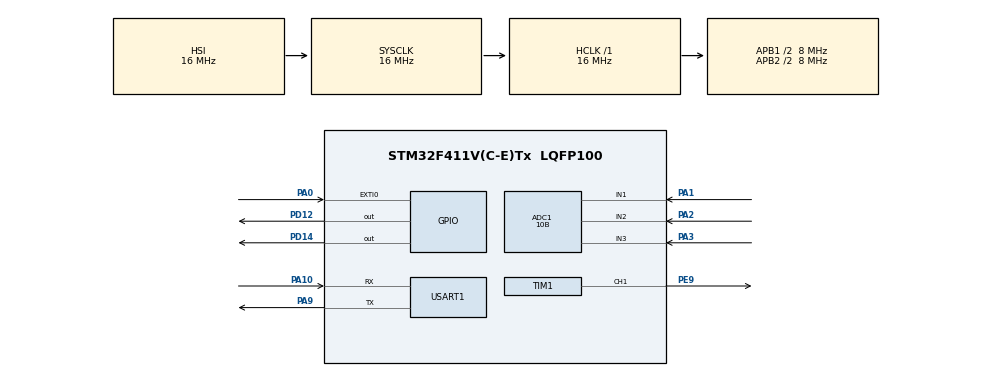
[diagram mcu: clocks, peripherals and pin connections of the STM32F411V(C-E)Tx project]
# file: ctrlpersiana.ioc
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ADC1.Channel-0\#ChannelRegularConversion=ADC_CHANNEL_1
ADC1.Channel-1\#ChannelRegularConversion=ADC_CHANNEL_2
ADC1.Channel-2\#ChannelRegularConversion=ADC_CHANNEL_3
ADC1.ContinuousConvMode=ENABLE
ADC1.DMAContinuousRequests=ENABLE
ADC1.DiscontinuousConvMode=DISABLE
ADC1.NbrOfConversion=3
ADC1.NbrOfConversionFlag=1
ADC1.Rank-0\#ChannelRegularConversion=1
ADC1.Rank-1\#ChannelRegularConversion=2
ADC1.Rank-2\#ChannelRegularConversion=3
ADC1.Resolution=ADC_RESOLUTION_10B
ADC1.SamplingTime-0\#ChannelRegularConversion=ADC_SAMPLETIME_3CYCLES
ADC1.SamplingTime-1\#ChannelRegularConversion=ADC_SAMPLETIME_3CYCLES
ADC1.SamplingTime-2\#ChannelRegularConversion=ADC_SAMPLETIME_3CYCLES
ADC1.ScanConvMode=ENABLE
ADC1.master=1
Dma.ADC1.0.Direction=DMA_PERIPH_TO_MEMORY
Dma.ADC1.0.FIFOMode=DMA_FIFOMODE_DISABLE
Dma.ADC1.0.Instance=DMA2_Stream0
Dma.ADC1.0.MemDataAlignment=DMA_MDATAALIGN_WORD
Dma.ADC1.0.MemInc=DMA_MINC_ENABLE
Dma.ADC1.0.Mode=DMA_CIRCULAR
Dma.ADC1.0.PeriphDataAlignment=DMA_PDATAALIGN_WORD
Dma.ADC1.0.PeriphInc=DMA_PINC_DISABLE
Dma.ADC1.0.Priority=DMA_PRIORITY_LOW
Dma.Request0=ADC1
Mcu.Family=STM32F4
Mcu.Name=STM32F411V(C-E)Tx
Mcu.Package=LQFP100
NVIC.DMA2_Stream0_IRQn=true\:0\:0\:false\:false\:true\:false\:true\:true
NVIC.EXTI0_IRQn=true\:0\:0\:false\:false\:true\:true\:true\:true
NVIC.PriorityGroup=NVIC_PRIORITYGROUP_0
PA0-WKUP.Signal=GPXTI0
PA1.Signal=ADCx_IN1
PA10.Mode=Asynchronous
PA10.Signal=USART1_RX
PA2.Signal=ADCx_IN2
PA3.Signal=ADCx_IN3
PA9.Mode=Asynchronous
PA9.Signal=USART1_TX
PD12.Signal=GPIO_Output
PD14.Signal=GPIO_Output
PE9.Signal=S_TIM1_CH1
ProjectManager.HeapSize=0x200
ProjectManager.StackSize=0x400
ProjectManager.TargetToolchain=STM32CubeIDE
RCC.48MHZClocksFreq_Value=16000000
RCC.AHBFreq_Value=16000000
RCC.APB1CLKDivider=RCC_HCLK_DIV2
RCC.APB1Freq_Value=8000000
RCC.APB1TimFreq_Value=16000000
RCC.APB2CLKDivider=RCC_HCLK_DIV2
RCC.APB2Freq_Value=8000000
RCC.APB2TimFreq_Value=16000000
RCC.CortexFreq_Value=16000000
RCC.HCLKFreq_Value=16000000
RCC.HSE_VALUE=8000000
RCC.HSI_VALUE=16000000
RCC.LSE_VALUE=32768
RCC.PLLI2SM=5
RCC.PLLI2SN=200
RCC.PLLM=8
RCC.PLLN=64
RCC.PLLQ=8
RCC.SYSCLKFreq_VALUE=16000000
RCC.VCOOutputFreq_Value=128000000
SH.ADCx_IN1.0=ADC1_IN1,IN1
SH.ADCx_IN2.0=ADC1_IN2,IN2
SH.ADCx_IN3.0=ADC1_IN3,IN3
SH.S_TIM1_CH1.0=TIM1_CH1,PWM Generation1 CH1
TIM1.Channel-PWM\ Generation1\ CH1=TIM_CHANNEL_1
TIM1.Period=200
TIM1.Prescaler=1600
USART1.VirtualMode=VM_ASYNC
board=STM32F411E-DISCO

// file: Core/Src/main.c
/* USER CODE BEGIN Header */
/**
  ******************************************************************************
  * @file           : main.c
  * @brief          : Main program body
  ******************************************************************************
  * @attention
  *
  * Copyright (c) 2022 STMicroelectronics.
  * All rights reserved.
  *
  * This software is licensed under terms that can be found in the LICENSE file
  * in the root directory of this software component.
  * If no LICENSE file comes with this software, it is provided AS-IS.
  *
  ******************************************************************************
  */
/* USER CODE END Header */
#include "main.h"

ADC_HandleTypeDef hadc1;
DMA_HandleTypeDef hdma_adc1;

TIM_HandleTypeDef htim1;

UART_HandleTypeDef huart1;

void SystemClock_Config(void);
static void MX_GPIO_Init(void);
static void MX_DMA_Init(void);
static void MX_ADC1_Init(void);
static void MX_TIM1_Init(void);
static void MX_USART1_UART_Init(void);
/* USER CODE BEGIN PFP */
volatile int flag = 0;
char recibido[1]="";
uint32_t adcbuffer[3];
/* USER CODE END PFP */

/* USER CODE BEGIN 0 */
void HAL_GPIO_EXTI_Callback(uint16_t GPIO_Pin)
{
  /* Prevent unused argument(s) compilation warning */
	if(GPIO_Pin==GPIO_PIN_0)
		flag = 1;
}
/* USER CODE END 0 */

int main(void)
{

  /* MCU Configuration--------------------------------------------------------*/

  /* Reset of all peripherals, Initializes the Flash interface and the Systick. */
  HAL_Init();

  /* Configure the system clock */
  SystemClock_Config();

  /* Initialize all configured peripherals */
  MX_GPIO_Init();
  MX_DMA_Init();
  MX_ADC1_Init();
  MX_TIM1_Init();
  MX_USART1_UART_Init();
  /* USER CODE BEGIN 2 */
  int counter=HAL_GetTick();

  HAL_TIM_PWM_Start(&htim1, TIM_CHANNEL_1);

  /* USER CODE END 2 */

  /* Infinite loop */
  while (1)
  {

    /* USER CODE BEGIN 3 */
	  HAL_UART_Receive(&huart1, (uint8_t *)recibido, 1, HAL_MAX_DELAY);
	  HAL_ADC_Start_DMA(&hadc1, adcbuffer, 3);

	  if( recibido[0]=='1')
	  	    	  	  {

	  	    	  		 //for(int i=1;i<10;i++)
	  	    	  		 //{
	  	    	  		  		 __HAL_TIM_SET_COMPARE(&htim1,TIM_CHANNEL_1,20);//de 0 a 20

	  	    	  		 //}
	  	    	  		  		recibido[0] = '0';
	  	    	  		 }

	  	    	  	  //MODO ADC
	  if(/*modosensor == 1*/recibido[0]=='2')
	  	    	  	  {
	  	    	  	  if((adcbuffer[0]>700) && (flag == 1)){
	  	    	  		  //va de 527 a 1023 mas o menos el sensor
	  	    	  		for(int i=0;i<20;i++)
	  	    	  			  	    	  		 {
	  	    	  			  	    	  		  		 __HAL_TIM_SET_COMPARE(&htim1,TIM_CHANNEL_1,i);
	  	    	  			  	    	  		  		  HAL_Delay(70);
	  	    	  			  	    	  		 }
	  	    	  	recibido[0]='0';
	  	    	  		  flag = 0;
	  	    	  	  }
	  	    	  	  else if((adcbuffer[0]<700) && ((HAL_GetTick()- counter)>= 5000) && (flag == 1)){
	  	    	  			counter=HAL_GetTick();
	  	    	  		for(int i=0;i<20;i++)
	  	    	  			  	{
	  	    	  			  	    	 __HAL_TIM_SET_COMPARE(&htim1,TIM_CHANNEL_1,i);
	  	    	  			  	    	 HAL_Delay(70);
	  	    	  			  	 }
	  	    	  		  	  flag = 0;
	  	    	  		  recibido[0]='0';
	  	    	  			  //}
	  	    	  	  }
	  	    	  	  }

  }
  /* USER CODE END 3 */
}

void SystemClock_Config(void)
{
  RCC_OscInitTypeDef RCC_OscInitStruct = {0};
  RCC_ClkInitTypeDef RCC_ClkInitStruct = {0};

  /** Configure the main internal regulator output voltage
  */
  __HAL_RCC_PWR_CLK_ENABLE();
  __HAL_PWR_VOLTAGESCALING_CONFIG(PWR_REGULATOR_VOLTAGE_SCALE1);

  /** Initializes the RCC Oscillators according to the specified parameters
  * in the RCC_OscInitTypeDef structure.
  */
  RCC_OscInitStruct.OscillatorType = RCC_OSCILLATORTYPE_HSI;
  RCC_OscInitStruct.HSIState = RCC_HSI_ON;
  RCC_OscInitStruct.HSICalibrationValue = RCC_HSICALIBRATION_DEFAULT;
  RCC_OscInitStruct.PLL.PLLState = RCC_PLL_NONE;
  if (HAL_RCC_OscConfig(&RCC_OscInitStruct) != HAL_OK)
  {
    Error_Handler();
  }

  /** Initializes the CPU, AHB and APB buses clocks
  */
  RCC_ClkInitStruct.ClockType = RCC_CLOCKTYPE_HCLK|RCC_CLOCKTYPE_SYSCLK
                              |RCC_CLOCKTYPE_PCLK1|RCC_CLOCKTYPE_PCLK2;
  RCC_ClkInitStruct.SYSCLKSource = RCC_SYSCLKSOURCE_HSI;
  RCC_ClkInitStruct.AHBCLKDivider = RCC_SYSCLK_DIV1;
  RCC_ClkInitStruct.APB1CLKDivider = RCC_HCLK_DIV2;
  RCC_ClkInitStruct.APB2CLKDivider = RCC_HCLK_DIV2;

  if (HAL_RCC_ClockConfig(&RCC_ClkInitStruct, FLASH_LATENCY_0) != HAL_OK)
  {
    Error_Handler();
  }
}

static void MX_ADC1_Init(void)
{

  ADC_ChannelConfTypeDef sConfig = {0};

  /** Configure the global features of the ADC (Clock, Resolution, Data Alignment and number of conversion)
  */
  hadc1.Instance = ADC1;
  hadc1.Init.ClockPrescaler = ADC_CLOCK_SYNC_PCLK_DIV2;
  hadc1.Init.Resolution = ADC_RESOLUTION_10B;
  hadc1.Init.ScanConvMode = ENABLE;
  hadc1.Init.ContinuousConvMode = ENABLE;
  hadc1.Init.DiscontinuousConvMode = DISABLE;
  hadc1.Init.ExternalTrigConvEdge = ADC_EXTERNALTRIGCONVEDGE_NONE;
  hadc1.Init.ExternalTrigConv = ADC_SOFTWARE_START;
  hadc1.Init.DataAlign = ADC_DATAALIGN_RIGHT;
  hadc1.Init.NbrOfConversion = 3;
  hadc1.Init.DMAContinuousRequests = ENABLE;
  hadc1.Init.EOCSelection = ADC_EOC_SINGLE_CONV;
  if (HAL_ADC_Init(&hadc1) != HAL_OK)
  {
    Error_Handler();
  }

  /** Configure for the selected ADC regular channel its corresponding rank in the sequencer and its sample time.
  */
  sConfig.Channel = ADC_CHANNEL_1;
  sConfig.Rank = 1;
  sConfig.SamplingTime = ADC_SAMPLETIME_3CYCLES;
  if (HAL_ADC_ConfigChannel(&hadc1, &sConfig) != HAL_OK)
  {
    Error_Handler();
  }

  /** Configure for the selected ADC regular channel its corresponding rank in the sequencer and its sample time.
  */
  sConfig.Channel = ADC_CHANNEL_2;
  sConfig.Rank = 2;
  if (HAL_ADC_ConfigChannel(&hadc1, &sConfig) != HAL_OK)
  {
    Error_Handler();
  }

  /** Configure for the selected ADC regular channel its corresponding rank in the sequencer and its sample time.
  */
  sConfig.Channel = ADC_CHANNEL_3;
  sConfig.Rank = 3;
  if (HAL_ADC_ConfigChannel(&hadc1, &sConfig) != HAL_OK)
  {
    Error_Handler();
  }

}

static void MX_TIM1_Init(void)
{

  TIM_MasterConfigTypeDef sMasterConfig = {0};
  TIM_OC_InitTypeDef sConfigOC = {0};
  TIM_BreakDeadTimeConfigTypeDef sBreakDeadTimeConfig = {0};

  htim1.Instance = TIM1;
  htim1.Init.Prescaler = 1600;
  htim1.Init.CounterMode = TIM_COUNTERMODE_UP;
  htim1.Init.Period = 200;
  htim1.Init.ClockDivision = TIM_CLOCKDIVISION_DIV1;
  htim1.Init.RepetitionCounter = 0;
  htim1.Init.AutoReloadPreload = TIM_AUTORELOAD_PRELOAD_DISABLE;
  if (HAL_TIM_PWM_Init(&htim1) != HAL_OK)
  {
    Error_Handler();
  }
  sMasterConfig.MasterOutputTrigger = TIM_TRGO_RESET;
  sMasterConfig.MasterSlaveMode = TIM_MASTERSLAVEMODE_DISABLE;
  if (HAL_TIMEx_MasterConfigSynchronization(&htim1, &sMasterConfig) != HAL_OK)
  {
    Error_Handler();
  }
  sConfigOC.OCMode = TIM_OCMODE_PWM1;
  sConfigOC.Pulse = 0;
  sConfigOC.OCPolarity = TIM_OCPOLARITY_HIGH;
  sConfigOC.OCNPolarity = TIM_OCNPOLARITY_HIGH;
  sConfigOC.OCFastMode = TIM_OCFAST_DISABLE;
  sConfigOC.OCIdleState = TIM_OCIDLESTATE_RESET;
  sConfigOC.OCNIdleState = TIM_OCNIDLESTATE_RESET;
  if (HAL_TIM_PWM_ConfigChannel(&htim1, &sConfigOC, TIM_CHANNEL_1) != HAL_OK)
  {
    Error_Handler();
  }
  sBreakDeadTimeConfig.OffStateRunMode = TIM_OSSR_DISABLE;
  sBreakDeadTimeConfig.OffStateIDLEMode = TIM_OSSI_DISABLE;
  sBreakDeadTimeConfig.LockLevel = TIM_LOCKLEVEL_OFF;
  sBreakDeadTimeConfig.DeadTime = 0;
  sBreakDeadTimeConfig.BreakState = TIM_BREAK_DISABLE;
  sBreakDeadTimeConfig.BreakPolarity = TIM_BREAKPOLARITY_HIGH;
  sBreakDeadTimeConfig.AutomaticOutput = TIM_AUTOMATICOUTPUT_DISABLE;
  if (HAL_TIMEx_ConfigBreakDeadTime(&htim1, &sBreakDeadTimeConfig) != HAL_OK)
  {
    Error_Handler();
  }
  HAL_TIM_MspPostInit(&htim1);

}

static void MX_USART1_UART_Init(void)
{

  huart1.Instance = USART1;
  huart1.Init.BaudRate = 115200;
  huart1.Init.WordLength = UART_WORDLENGTH_8B;
  huart1.Init.StopBits = UART_STOPBITS_1;
  huart1.Init.Parity = UART_PARITY_NONE;
  huart1.Init.Mode = UART_MODE_TX_RX;
  huart1.Init.HwFlowCtl = UART_HWCONTROL_NONE;
  huart1.Init.OverSampling = UART_OVERSAMPLING_16;
  if (HAL_UART_Init(&huart1) != HAL_OK)
  {
    Error_Handler();
  }

}

static void MX_DMA_Init(void)
{

  /* DMA controller clock enable */
  __HAL_RCC_DMA2_CLK_ENABLE();

  /* DMA interrupt init */
  /* DMA2_Stream0_IRQn interrupt configuration */
  HAL_NVIC_SetPriority(DMA2_Stream0_IRQn, 0, 0);
  HAL_NVIC_EnableIRQ(DMA2_Stream0_IRQn);

}

static void MX_GPIO_Init(void)
{
  GPIO_InitTypeDef GPIO_InitStruct = {0};

  /* GPIO Ports Clock Enable */
  __HAL_RCC_GPIOA_CLK_ENABLE();
  __HAL_RCC_GPIOE_CLK_ENABLE();
  __HAL_RCC_GPIOD_CLK_ENABLE();

  /*Configure GPIO pin Output Level */
  HAL_GPIO_WritePin(GPIOD, GPIO_PIN_12|GPIO_PIN_14, GPIO_PIN_RESET);

  /*Configure GPIO pin : PA0 */
  GPIO_InitStruct.Pin = GPIO_PIN_0;
  GPIO_InitStruct.Mode = GPIO_MODE_IT_RISING;
  GPIO_InitStruct.Pull = GPIO_NOPULL;
  HAL_GPIO_Init(GPIOA, &GPIO_InitStruct);

  /*Configure GPIO pins : PD12 PD14 */
  GPIO_InitStruct.Pin = GPIO_PIN_12|GPIO_PIN_14;
  GPIO_InitStruct.Mode = GPIO_MODE_OUTPUT_PP;
  GPIO_InitStruct.Pull = GPIO_NOPULL;
  GPIO_InitStruct.Speed = GPIO_SPEED_FREQ_LOW;
  HAL_GPIO_Init(GPIOD, &GPIO_InitStruct);

  /* EXTI interrupt init*/
  HAL_NVIC_SetPriority(EXTI0_IRQn, 0, 0);
  HAL_NVIC_EnableIRQ(EXTI0_IRQn);

}

void Error_Handler(void)
{
  __disable_irq();
  while (1)
  {
  }
}
